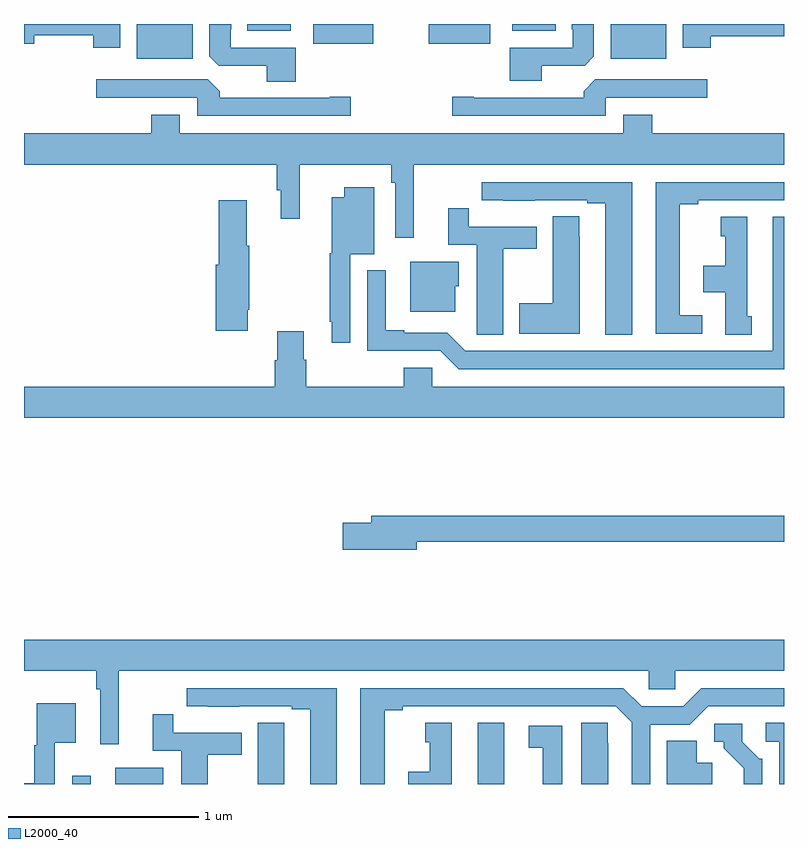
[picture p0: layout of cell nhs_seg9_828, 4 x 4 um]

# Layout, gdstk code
import gdstk
lib = gdstk.Library(unit=1e-6, precision=1e-09)
def R(c, l, rs):  # rectangles x0, y0, x1, y1
    for r in rs: c.add(gdstk.rectangle(r[:2], r[2:], *l))
def P(c, l, *ps):  # polygons
    for p in ps: c.add(gdstk.Polygon(p, *l))
L2000_40 = (2000, 40)

nhs_seg9_828 = lib.new_cell('nhs_seg9_828')
R(nhs_seg9_828, L2000_40, [(155.253,1186.5,155.35,1186.543), (155.48,1186.5,155.734,1186.585), (157.388,1186.5,157.528,1186.822), (155.594,1190.318,155.887,1190.5), (158.087,1190.318,158.38,1190.5), (156.522,1190.396,156.837,1190.5), (157.13,1190.396,157.453,1190.5), (156.176,1190.465,156.403,1190.5), (157.571,1190.465,157.798,1190.5)])
P(nhs_seg9_828, L2000_40, [(155.506,1190.5),(155,1190.5),(155,1190.396),(155.053,1190.396),(155.053,1190.44),(155.365,1190.44),(155.365,1190.376),(155.506,1190.376)],
  [(156.431,1190.376),(156.087,1190.376),(156.087,1190.473),(156.091,1190.473),(156.091,1190.5),(155.975,1190.5),(155.975,1190.329),(156.024,1190.28),(156.278,1190.28),(156.278,1190.197),(156.431,1190.197)],
  [(158.615,1190.435),(159,1190.435),(159,1190.5),(158.468,1190.5),(158.468,1190.376),(158.615,1190.376)],
  [(157.726,1190.28),(157.95,1190.28),(157.999,1190.329),(157.999,1190.5),(157.883,1190.5),(157.883,1190.473),(157.887,1190.473),(157.887,1190.376),(157.556,1190.376),(157.556,1190.201),(157.726,1190.201)],
  [(156.721,1190.117),(156.608,1190.117),(156.608,1190.112),(156.029,1190.112),(156.029,1190.146),(155.967,1190.208),(155.379,1190.208),(155.379,1190.112),(155.913,1190.112),(155.913,1190.016),(156.721,1190.016)],
  [(158.061,1190.112),(158.596,1190.112),(158.596,1190.208),(158.007,1190.208),(157.946,1190.146),(157.946,1190.112),(157.366,1190.112),(157.366,1190.117),(157.254,1190.117),(157.254,1190.016),(158.061,1190.016)],
  [(155.821,1190.023),(155.669,1190.023),(155.669,1189.924),(155,1189.924),(155,1189.76),(156.331,1189.76),(156.331,1189.626),(156.35,1189.626),(156.35,1189.476),(156.45,1189.476),(156.45,1189.76),(156.934,1189.76),(156.934,1189.664),(156.954,1189.664),(156.954,1189.374),(157.052,1189.374),(157.052,1189.76),(159,1189.76),(159,1189.924),(158.306,1189.924),(158.306,1190.023),(158.153,1190.023),(158.153,1189.924),(155.821,1189.924)],
  [(158.569,1188.966),(158.452,1188.966),(158.452,1189.552),(158.548,1189.552),(158.548,1189.572),(159,1189.572),(159,1189.668),(158.324,1189.668),(158.324,1188.87),(158.569,1188.87)],
  [(158.2,1189.668),(157.41,1189.668),(157.41,1189.572),(157.522,1189.572),(157.522,1189.571),(157.688,1189.571),(157.688,1189.572),(157.964,1189.572),(157.964,1189.557),(158.06,1189.557),(158.06,1188.865),(158.2,1188.865)],
  [(156.717,1189.289),(156.844,1189.289),(156.844,1189.642),(156.686,1189.642),(156.686,1189.588),(156.62,1189.588),(156.62,1189.293),(156.609,1189.293),(156.609,1188.934),(156.62,1188.934),(156.62,1188.822),(156.717,1188.822)],
  [(156.178,1188.997),(156.186,1188.997),(156.186,1189.333),(156.172,1189.333),(156.172,1189.573),(156.026,1189.573),(156.026,1189.233),(156.008,1189.233),(156.008,1188.885),(156.178,1188.885)],
  [(157.522,1189.318),(157.699,1189.318),(157.699,1189.434),(157.34,1189.434),(157.34,1189.531),(157.232,1189.531),(157.232,1189.338),(157.382,1189.338),(157.382,1188.976),(157.383,1188.976),(157.383,1188.865),(157.522,1188.865)],
  [(157.924,1189.379),(157.923,1189.379),(157.923,1189.487),(157.784,1189.487),(157.784,1189.029),(157.607,1189.029),(157.607,1188.869),(157.924,1188.869)],
  [(159,1189.486),(158.942,1189.486),(158.942,1188.78),(157.323,1188.78),(157.227,1188.876),(157,1188.876),(157,1188.889),(156.904,1188.889),(156.904,1189.204),(156.807,1189.204),(156.807,1188.78),(157.191,1188.78),(157.287,1188.684),(159,1188.684)],
  [(158.83,1188.963),(158.806,1188.963),(158.806,1189.486),(158.666,1189.486),(158.666,1189.383),(158.69,1189.383),(158.69,1189.228),(158.576,1189.228),(158.576,1189.088),(158.69,1189.088),(158.69,1188.865),(158.83,1188.865)],
  [(157.27,1189.119),(157.288,1189.119),(157.288,1189.249),(157.034,1189.249),(157.034,1188.986),(157.27,1188.986)],
  [(159,1188.592),(157.149,1188.592),(157.149,1188.69),(156.998,1188.69),(156.998,1188.592),(156.485,1188.592),(156.485,1188.734),(156.472,1188.734),(156.472,1188.883),(156.332,1188.883),(156.332,1188.729),(156.32,1188.729),(156.32,1188.592),(155,1188.592),(155,1188.428),(159,1188.428)],
  [(157.066,1187.776),(159,1187.776),(159,1187.912),(156.827,1187.912),(156.827,1187.876),(156.678,1187.876),(156.678,1187.734),(157.066,1187.734)],
  [(155.498,1187.096),(158.289,1187.096),(158.289,1186.998),(158.427,1186.998),(158.427,1187.096),(159,1187.096),(159,1187.26),(155,1187.26),(155,1187.096),(155.38,1187.096),(155.38,1187),(155.4,1187),(155.4,1186.71),(155.498,1186.71)],
  [(156.646,1187.004),(155.856,1187.004),(155.856,1186.908),(155.968,1186.908),(155.968,1186.907),(156.134,1186.907),(156.134,1186.908),(156.41,1186.908),(156.41,1186.893),(156.506,1186.893),(156.506,1186.5),(156.646,1186.5)],
  [(156.898,1186.888),(156.994,1186.888),(156.994,1186.908),(158.115,1186.908),(158.199,1186.824),(158.199,1186.5),(158.295,1186.5),(158.295,1186.812),(158.505,1186.812),(158.601,1186.908),(159,1186.908),(159,1187.004),(158.565,1187.004),(158.469,1186.908),(158.251,1186.908),(158.155,1187.004),(156.77,1187.004),(156.77,1186.5),(156.898,1186.5)],
  [(155.163,1186.718),(155.272,1186.718),(155.272,1186.924),(155.066,1186.924),(155.066,1186.704),(155.055,1186.704),(155.055,1186.505),(155,1186.505),(155,1186.5),(155.163,1186.5)],
  [(155.968,1186.654),(156.145,1186.654),(156.145,1186.77),(155.786,1186.77),(155.786,1186.867),(155.678,1186.867),(155.678,1186.674),(155.828,1186.674),(155.828,1186.5),(155.968,1186.5)],
  [(158.074,1186.715),(158.073,1186.715),(158.073,1186.823),(157.934,1186.823),(157.934,1186.5),(158.074,1186.5)],
  [(159,1186.823),(158.904,1186.823),(158.904,1186.722),(158.976,1186.722),(158.976,1186.5),(159,1186.5)],
  [(156.37,1186.715),(156.369,1186.715),(156.369,1186.823),(156.23,1186.823),(156.23,1186.5),(156.37,1186.5)],
  [(157.252,1186.822),(157.112,1186.822),(157.112,1186.719),(157.136,1186.719),(157.136,1186.564),(157.022,1186.564),(157.022,1186.5),(157.252,1186.5)],
  [(158.886,1186.632),(158.871,1186.632),(158.781,1186.722),(158.781,1186.818),(158.634,1186.818),(158.634,1186.722),(158.684,1186.722),(158.684,1186.687),(158.789,1186.582),(158.789,1186.5),(158.886,1186.5)],
  [(157.834,1186.806),(157.656,1186.806),(157.656,1186.69),(157.73,1186.69),(157.73,1186.5),(157.834,1186.5)],
  [(158.623,1186.612),(158.542,1186.612),(158.542,1186.727),(158.384,1186.727),(158.384,1186.5),(158.623,1186.5)])

lib.write_gds('nhs_seg9_828.gds')
